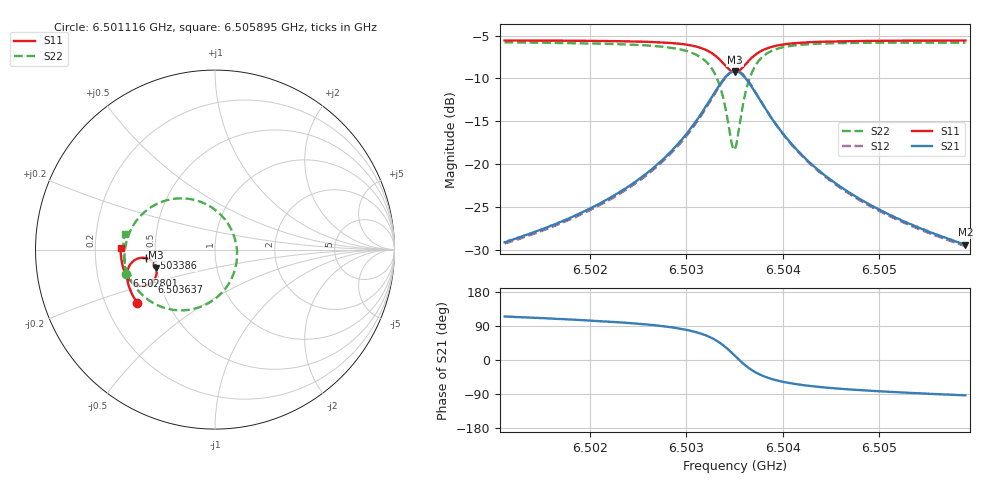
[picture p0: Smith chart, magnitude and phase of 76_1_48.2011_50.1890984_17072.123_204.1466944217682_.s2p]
#  HZ  S  RI  R  50.00
! Rohde & Schwarz Vector Network Analyzer
! Rohde-Schwarz,ZNB20-2Port,1311601062101988,3.16
! Created: UTC 3/20/2024, 11:39:22 AM
! freq[Hz]  re:S11  im:S11  re:S21  im:S21  re:S12  im:S12  re:S22  im:S22
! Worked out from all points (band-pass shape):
!   401 points, 6.501116 GHz to 6.505895 GHz, reference 50 ohm
!   highest |S21| = -9.15 dB at 6.503506 GHz (marker M1); lowest = -29.3 dB at 6.505895 GHz (marker M2)
!   |S21| within 3 dB of the highest: 6.503265 GHz to 6.503745 GHz (479 kHz wide, 0.00737 % of centre)
!   lowest |S11| = -9.3 dB at 6.503506 GHz (marker M3), VSWR 2.05, Z = 24.8 - j5.72 ohm
!   |S11| at or under -10 dB: nowhere
!   |S22| runs from -18.3 to -5.8 dB; largest |S21 - S12| = 0.012
!   S11 on the Smith chart (normalised r, x): 6.501116 GHz: 0.34, -0.28; 6.502801 GHz: 0.33, -0.13; 6.503386 GHz: 0.44, -0.05; 6.503637 GHz: 0.45, -0.20; 6.505895 GHz: 0.31, +0.01
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6.5011163e9  -0.4338 -0.2982  -0.0148 0.032  -0.013 0.0321  -0.4943 -0.1379
6.5019167e9  -0.4672 -0.2376  -0.0139 0.0506  -0.0114 0.0501  -0.5045 -0.0496
6.5023826e9  -0.4826 -0.1947  -0.0103 0.0725  -0.00703 0.0712  -0.4987 0.0208
6.5027171e9  -0.4896 -0.1559  -0.000785 0.102  0.00299 0.0993  -0.4772 0.0927
6.5028007e9  -0.4901 -0.1441  0.00427 0.1126  0.00798 0.1096  -0.4664 0.1158
6.5030038e9  -0.4853 -0.11  0.0277 0.1482  0.0313 0.1435  -0.4175 0.1854
6.5031472e9  -0.4704 -0.08  0.0663 0.1826  0.0692 0.1763  -0.3422 0.2449
6.5032906e9  -0.4312 -0.0502  0.1508 0.2116  0.1515 0.2051  -0.188 0.2855
6.5033383e9  -0.4093 -0.0457  0.1947 0.2097  0.1947 0.204  -0.1112 0.2757
6.5033861e9  -0.3833 -0.0482  0.2449 0.1936  0.2449 0.1889  -0.0252 0.2395
6.5034697e9  -0.3392 -0.0787  0.3248 0.1162  0.3273 0.1118  0.1021 0.0861
6.5035056e9  -0.3283 -0.1015  0.3423 0.0658  0.3462 0.0602  0.1228 -0.00854
6.5035295e9  -0.3254 -0.1183  0.3457 0.0301  0.3498 0.0232  0.1196 -0.0742
6.5035653e9  -0.3277 -0.1431  0.3378 -0.0213  0.3414 -0.0305  0.0903 -0.1654
6.503637e9  -0.3506 -0.1813  0.2891 -0.0994  0.289 -0.1112  -0.0242 -0.2912
6.5037326e9  -0.3926 -0.2013  0.2086 -0.1431  0.2034 -0.1538  -0.1885 -0.3383
6.5038879e9  -0.443 -0.1941  0.1182 -0.1421  0.1108 -0.1478  -0.3527 -0.2924
6.5040551e9  -0.4725 -0.1728  0.0691 -0.1206  0.0624 -0.123  -0.4325 -0.2235
6.504306e9  -0.4953 -0.1415  0.0355 -0.093  0.0303 -0.0935  -0.481 -0.144
6.5046644e9  -0.5111 -0.1029  0.0156 -0.0684  0.0122 -0.0679  -0.5042 -0.0678
6.5051064e9  -0.5206 -0.0612  0.00535 -0.0506  0.00295 -0.0499  -0.5108 -0.0018
6.5058949e9  -0.526 0.00641  -0.00197 -0.0341  -0.00331 -0.0333  -0.5038 0.0848
